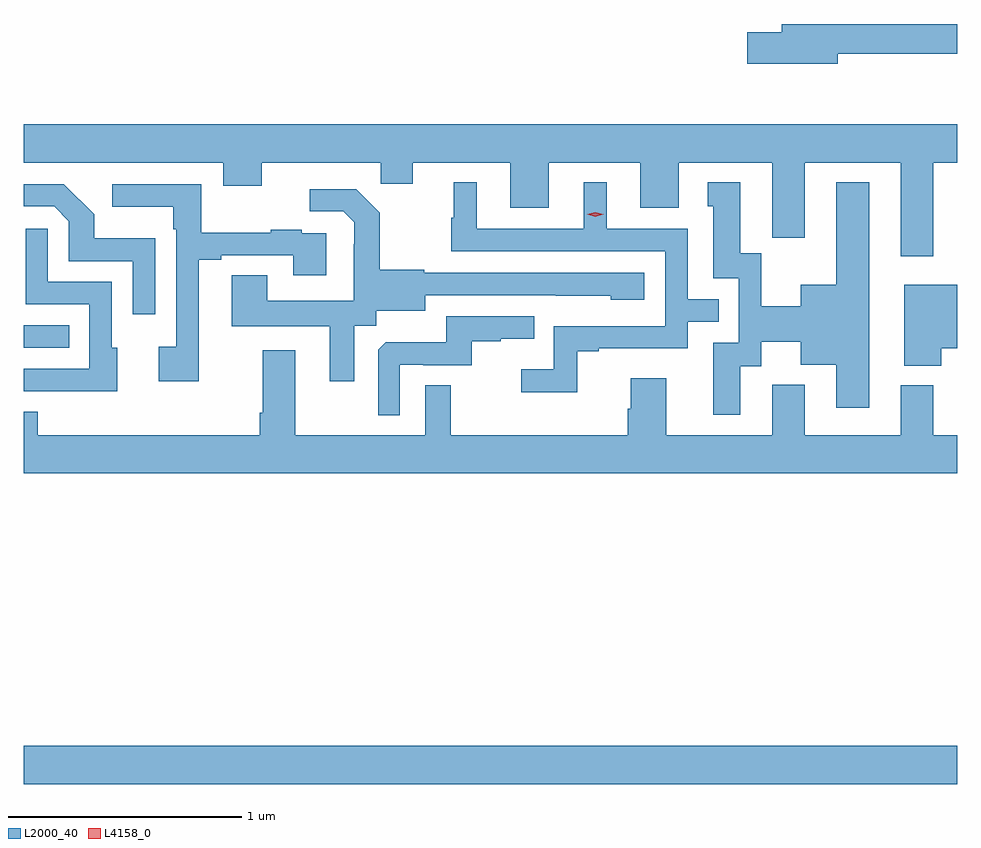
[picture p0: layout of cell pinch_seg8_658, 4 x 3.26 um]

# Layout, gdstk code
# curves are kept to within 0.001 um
import gdstk
lib = gdstk.Library(unit=1e-6, precision=1e-09)
def R(c, l, rs):  # rectangles x0, y0, x1, y1
    for r in rs: c.add(gdstk.rectangle(r[:2], r[2:], *l))
def P(c, l, *ps):  # polygons
    for p in ps: c.add(gdstk.Polygon(p, *l))
L2000_40 = (2000, 40)
L4158_0 = (4158, 0)

pinch_seg8_658 = lib.new_cell('pinch_seg8_658')
R(pinch_seg8_658, L2000_40, [(335.396,1103.18,339.396,1103.344), (335.396,1105.05,335.591,1105.146)])
P(pinch_seg8_658, L2000_40, [(338.884,1106.31),(339.396,1106.31),(339.396,1106.438),(338.645,1106.438),(338.645,1106.402),(338.496,1106.402),(338.496,1106.267),(338.884,1106.267)],
  [(339.295,1105.844),(339.396,1105.844),(339.396,1106.008),(335.396,1106.008),(335.396,1105.844),(336.251,1105.844),(336.251,1105.745),(336.415,1105.745),(336.415,1105.844),(336.925,1105.844),(336.925,1105.754),(337.063,1105.754),(337.063,1105.844),(337.481,1105.844),(337.481,1105.65),(337.645,1105.65),(337.645,1105.844),(338.039,1105.844),(338.039,1105.65),(338.203,1105.65),(338.203,1105.844),(338.603,1105.844),(338.603,1105.633),(338.604,1105.633),(338.604,1105.521),(338.743,1105.521),(338.743,1105.844),(339.155,1105.844),(339.155,1105.443),(339.295,1105.443)],
  [(338.467,1104.97),(338.557,1104.97),(338.557,1105.076),(338.726,1105.076),(338.726,1104.977),(338.879,1104.977),(338.879,1104.792),(339.019,1104.792),(339.019,1105.759),(338.879,1105.759),(338.879,1105.321),(338.726,1105.321),(338.726,1105.228),(338.556,1105.228),(338.556,1105.455),(338.467,1105.455),(338.467,1105.759),(338.327,1105.759),(338.327,1105.656),(338.351,1105.656),(338.351,1105.347),(338.46,1105.347),(338.46,1105.071),(338.351,1105.071),(338.351,1104.762),(338.467,1104.762)],
  [(337.767,1105.035),(337.861,1105.035),(337.861,1105.047),(338.241,1105.047),(338.241,1105.161),(338.375,1105.161),(338.375,1105.257),(338.241,1105.257),(338.241,1105.56),(337.894,1105.56),(337.894,1105.759),(337.796,1105.759),(337.796,1105.56),(337.336,1105.56),(337.336,1105.759),(337.238,1105.759),(337.238,1105.608),(337.227,1105.608),(337.227,1105.464),(338.145,1105.464),(338.145,1105.143),(337.668,1105.143),(337.668,1104.958),(337.527,1104.958),(337.527,1104.86),(337.767,1104.86)],
  [(336.145,1105.428),(336.241,1105.428),(336.241,1105.446),(336.551,1105.446),(336.551,1105.362),(336.691,1105.362),(336.691,1105.542),(336.587,1105.542),(336.587,1105.555),(336.455,1105.555),(336.455,1105.544),(336.157,1105.544),(336.157,1105.752),(335.775,1105.752),(335.775,1105.655),(336.036,1105.655),(336.036,1105.559),(336.048,1105.559),(336.048,1105.054),(335.973,1105.054),(335.973,1104.906),(336.145,1104.906)],
  [(335.958,1105.519),(335.697,1105.519),(335.697,1105.622),(335.566,1105.752),(335.396,1105.752),(335.396,1105.656),(335.526,1105.656),(335.589,1105.593),(335.589,1105.422),(335.862,1105.422),(335.862,1105.194),(335.958,1105.194)],
  [(336.811,1105.144),(336.906,1105.144),(336.906,1105.208),(337.117,1105.208),(337.117,1105.275),(337.911,1105.274),(337.911,1105.256),(338.056,1105.256),(338.056,1105.371),(337.113,1105.371),(337.113,1105.384),(336.921,1105.384),(336.921,1105.629),(336.821,1105.729),(336.621,1105.729),(336.621,1105.635),(336.765,1105.635),(336.812,1105.588),(336.812,1105.493),(336.81,1105.493),(336.81,1105.252),(336.439,1105.252),(336.439,1105.361),(336.287,1105.361),(336.287,1105.142),(336.707,1105.142),(336.707,1104.906),(336.811,1104.906)],
  [(335.797,1105.05),(335.772,1105.05),(335.772,1105.332),(335.499,1105.332),(335.499,1105.561),(335.403,1105.561),(335.403,1105.236),(335.676,1105.236),(335.676,1104.96),(335.396,1104.96),(335.396,1104.864),(335.579,1104.864),(335.579,1104.863),(335.797,1104.863)],
  [(339.328,1105.049),(339.396,1105.049),(339.396,1105.321),(339.17,1105.321),(339.17,1104.974),(339.328,1104.974)],
  [(337.008,1104.978),(337.108,1104.978),(337.108,1104.975),(337.316,1104.975),(337.316,1105.077),(337.439,1105.077),(337.439,1105.088),(337.583,1105.088),(337.583,1105.185),(337.206,1105.185),(337.206,1105.073),(336.947,1105.073),(336.915,1105.041),(336.915,1104.761),(337.008,1104.761)],
  [(339.396,1104.676),(339.295,1104.676),(339.295,1104.889),(339.155,1104.889),(339.155,1104.676),(338.743,1104.676),(338.743,1104.892),(338.603,1104.892),(338.603,1104.676),(338.149,1104.676),(338.149,1104.919),(337.997,1104.919),(337.997,1104.789),(337.985,1104.789),(337.985,1104.676),(337.225,1104.676),(337.225,1104.89),(337.116,1104.89),(337.116,1104.676),(336.559,1104.676),(336.559,1105.039),(336.419,1105.039),(336.419,1104.772),(336.407,1104.772),(336.407,1104.676),(335.455,1104.676),(335.455,1104.775),(335.396,1104.775),(335.396,1104.512),(339.396,1104.512)])
P(pinch_seg8_658, L4158_0, [(337.845,1105.612),(337.81,1105.622),(337.809,1105.622),(337.81,1105.622),(337.845,1105.632),(337.88,1105.622),(337.881,1105.622),(337.88,1105.622)])

lib.write_gds('pinch_seg8_658.gds')
